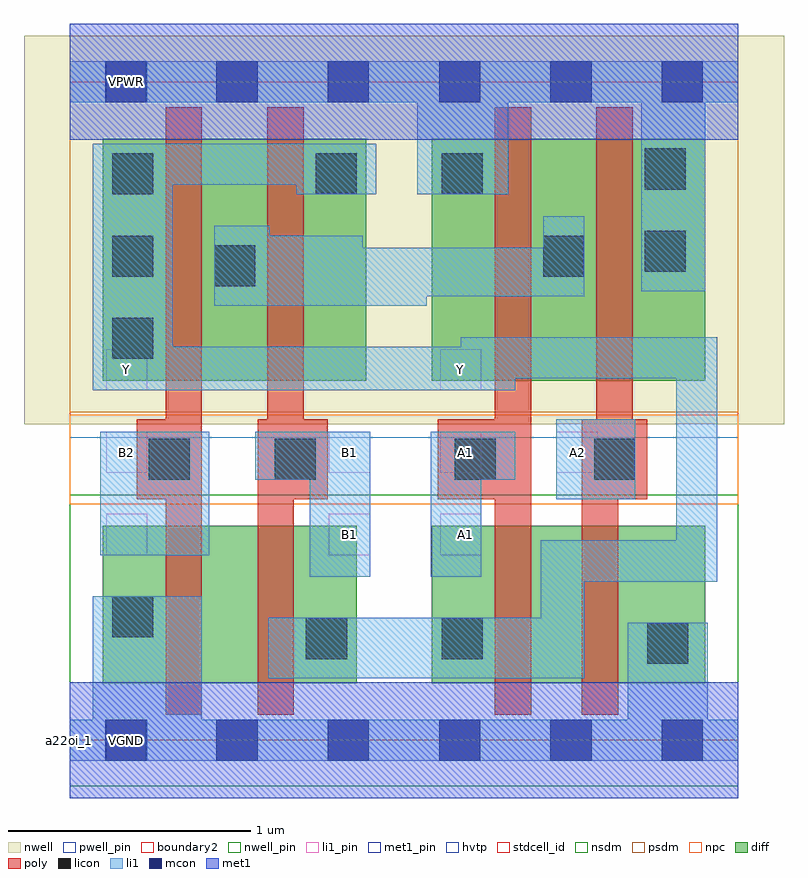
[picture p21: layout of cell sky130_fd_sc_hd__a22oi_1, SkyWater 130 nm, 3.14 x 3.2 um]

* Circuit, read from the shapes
.subckt sky130_fd_sc_hd__a22oi_1 A1 A2 B1 B2 VGND VNB VPB VPWR Y
XM1 n1 B2 VGND VNB sky130_fd_pr__nfet_01v8 w=0.65 l=0.15
XM2 Y B1 n1 VNB sky130_fd_pr__nfet_01v8 w=0.65 l=0.15
XM3 n2 A1 Y VNB sky130_fd_pr__nfet_01v8 w=0.65 l=0.15
XM4 VGND A2 n2 VNB sky130_fd_pr__nfet_01v8 w=0.65 l=0.15
XM5 n3 B2 Y VPB sky130_fd_pr__pfet_01v8_hvt w=1 l=0.15
XM6 Y B1 n3 VPB sky130_fd_pr__pfet_01v8_hvt w=1 l=0.15
XM7 n3 A1 VPWR VPB sky130_fd_pr__pfet_01v8_hvt w=1 l=0.15
XM8 VPWR A2 n3 VPB sky130_fd_pr__pfet_01v8_hvt w=1 l=0.15
.ends

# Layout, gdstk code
import gdstk
lib = gdstk.Library(unit=1e-6, precision=1e-09)
def R(c, l, rs):  # rectangles x0, y0, x1, y1
    for r in rs: c.add(gdstk.rectangle(r[:2], r[2:], *l))
def A(c, l, x, y, w, h, nx, ny, dx, dy):  # array of equal rectangles
    R(c, l, [(x+i*dx, y+j*dy, x+i*dx+w, y+j*dy+h) for i in range(nx) for j in range(ny)])
def P(c, l, *ps):  # polygons
    for p in ps: c.add(gdstk.Polygon(p, *l))
nwell_pin = (64, 16)
nwell = (64, 20)
diff = (65, 20)
poly = (66, 20)
licon = (66, 44)
li1_pin = (67, 16)
li1 = (67, 20)
mcon = (67, 44)
met1_pin = (68, 16)
met1 = (68, 20)
hvtp = (78, 44)
stdcell_id = (81, 4)
nsdm = (93, 44)
psdm = (94, 20)
npc = (95, 20)
pwell_pin = (122, 16)
boundary2 = (236, 0)

sky130_fd_sc_hd__a22oi_1 = lib.new_cell('sky130_fd_sc_hd__a22oi_1')
R(sky130_fd_sc_hd__a22oi_1, nwell_pin, [(0.15,2.635,0.32,2.805)])
R(sky130_fd_sc_hd__a22oi_1, nwell, [(-0.19,1.305,2.95,2.91)])
R(sky130_fd_sc_hd__a22oi_1, diff, [(0.135,0.235,1.185,0.885), (1.495,0.235,2.625,0.885), (0.135,1.485,1.225,2.485), (1.495,1.485,2.625,2.485)])
P(sky130_fd_sc_hd__a22oi_1, poly, [(0.545,2.615),(0.395,2.615),(0.395,1.325),(0.275,1.325),(0.275,0.995),(0.395,0.995),(0.395,0.105),(0.545,0.105)],
  [(1.065,1.325),(0.965,1.325),(0.965,2.615),(0.815,2.615),(0.815,1.325),(0.775,1.325),(0.775,0.105),(0.925,0.105),(0.925,0.995),(1.065,0.995)],
  [(1.905,2.615),(1.755,2.615),(1.755,1.325),(1.52,1.325),(1.52,0.995),(1.755,0.995),(1.755,0.105),(1.905,0.105)],
  [(2.385,1.325),(2.325,1.325),(2.325,2.615),(2.175,2.615),(2.175,1.325),(2.115,1.325),(2.115,0.105),(2.265,0.105),(2.265,0.995),(2.385,0.995)])
A(sky130_fd_sc_hd__a22oi_1, licon, 0.175, 1.575, 0.17, 0.17, 1, 3, 0, 0.34)
R(sky130_fd_sc_hd__a22oi_1, licon, [(2.385,0.315,2.555,0.485), (0.975,0.335,1.145,0.505), (1.535,0.335,1.705,0.505), (0.175,0.425,0.345,0.595), (0.325,1.075,0.495,1.245), (0.845,1.075,1.015,1.245), (1.59,1.075,1.76,1.245), (2.165,1.075,2.335,1.245), (0.595,1.875,0.765,2.045), (1.955,1.915,2.125,2.085), (2.375,1.935,2.545,2.105), (1.015,2.255,1.185,2.425), (1.535,2.255,1.705,2.425), (2.375,2.275,2.545,2.445)])
A(sky130_fd_sc_hd__a22oi_1, li1_pin, 0.15, 0.765, 0.17, 0.17, 1, 3, 0, 0.34)
A(sky130_fd_sc_hd__a22oi_1, li1_pin, 1.53, 0.765, 0.17, 0.17, 1, 3, 0, 0.34)
R(sky130_fd_sc_hd__a22oi_1, li1_pin, [(1.07,0.765,1.24,0.935), (1.07,1.105,1.24,1.275), (2.01,1.105,2.18,1.275)])
R(sky130_fd_sc_hd__a22oi_1, li1, [(0.125,0.765,0.575,1.275), (2.01,0.995,2.335,1.325)])
P(sky130_fd_sc_hd__a22oi_1, li1, [(1.84,1.275),(1.49,1.275),(1.49,0.675),(1.7,0.675),(1.7,1.075),(1.84,1.075)],
  [(1.24,1.275),(0.765,1.275),(0.765,1.075),(0.99,1.075),(0.99,0.675),(1.24,0.675)],
  [(2.675,1.665),(1.615,1.665),(1.615,1.625),(0.425,1.625),(0.425,2.295),(0.935,2.295),(0.935,2.255),(1.265,2.255),(1.265,2.465),(0.095,2.465),(0.095,1.445),(1.84,1.445),(1.84,1.495),(2.505,1.495),(2.505,0.825),(1.945,0.825),(1.945,0.505),(0.82,0.505),(0.82,0.255),(2.125,0.255),(2.125,0.655),(2.675,0.655)],
  [(2.125,2.165),(1.955,2.165),(1.955,2.035),(1.21,2.035),(1.21,2.085),(0.825,2.085),(0.825,2.125),(0.595,2.125),(0.595,1.795),(1.475,1.795),(1.475,1.835),(2.125,1.835)],
  [(2.76,2.805),(0,2.805),(0,2.635),(1.435,2.635),(1.435,2.255),(1.81,2.255),(1.81,2.635),(2.36,2.635),(2.36,1.855),(2.625,1.855),(2.625,2.635),(2.76,2.635)],
  [(2.76,0.085),(2.635,0.085),(2.635,0.485),(2.305,0.485),(2.305,0.085),(0.545,0.085),(0.545,0.595),(0.095,0.595),(0.095,0.085),(0,0.085),(0,-0.085),(2.76,-0.085)])
A(sky130_fd_sc_hd__a22oi_1, mcon, 0.145, -0.085, 0.17, 0.17, 6, 2, 0.46, 2.72)
R(sky130_fd_sc_hd__a22oi_1, met1_pin, [(0.15,-0.085,0.32,0.085), (0.15,2.635,0.32,2.805)])
R(sky130_fd_sc_hd__a22oi_1, hvtp, [(0,1.25,2.76,2.72)])
R(sky130_fd_sc_hd__a22oi_1, stdcell_id, [(0,0,2.76,2.72)])
R(sky130_fd_sc_hd__a22oi_1, nsdm, [(0,-0.19,2.76,1.015)])
R(sky130_fd_sc_hd__a22oi_1, psdm, [(0,1.355,2.76,2.91)])
R(sky130_fd_sc_hd__a22oi_1, npc, [(0,0.975,2.76,1.345)])
R(sky130_fd_sc_hd__a22oi_1, pwell_pin, [(0.15,-0.085,0.32,0.085)])
R(sky130_fd_sc_hd__a22oi_1, boundary2, [(0,0,2.76,2.72)])
sky130_fd_sc_hd__a22oi_1.add(gdstk.FlexPath([(0,2.72),(2.76,2.72)], 0.48, ends="flush", simple_path=True, layer=68, datatype=20))  # met1
sky130_fd_sc_hd__a22oi_1.add(gdstk.FlexPath([(0,0),(2.76,0)], 0.48, ends="flush", simple_path=True, layer=68, datatype=20))  # met1
sky130_fd_sc_hd__a22oi_1.add(gdstk.Label('B1', (1.155,0.85), layer=67, texttype=5))
sky130_fd_sc_hd__a22oi_1.add(gdstk.Label('A1', (1.635,0.85), layer=67, texttype=5))
sky130_fd_sc_hd__a22oi_1.add(gdstk.Label('B1', (1.155,1.19), layer=67, texttype=5))
sky130_fd_sc_hd__a22oi_1.add(gdstk.Label('B2', (0.235,1.19), layer=67, texttype=5))
sky130_fd_sc_hd__a22oi_1.add(gdstk.Label('A2', (2.095,1.19), layer=67, texttype=5))
sky130_fd_sc_hd__a22oi_1.add(gdstk.Label('A1', (1.635,1.19), layer=67, texttype=5))
sky130_fd_sc_hd__a22oi_1.add(gdstk.Label('Y', (1.615,1.53), layer=67, texttype=5))
sky130_fd_sc_hd__a22oi_1.add(gdstk.Label('Y', (0.235,1.53), layer=67, texttype=5))
sky130_fd_sc_hd__a22oi_1.add(gdstk.Label('VPWR', (0.235,2.72), layer=68, texttype=5))
sky130_fd_sc_hd__a22oi_1.add(gdstk.Label('VGND', (0.235,0), layer=68, texttype=5))
sky130_fd_sc_hd__a22oi_1.add(gdstk.Label('VPB', (0.235,2.72), layer=64, texttype=5))
sky130_fd_sc_hd__a22oi_1.add(gdstk.Label('VNB', (0.235,0), layer=64, texttype=59))
sky130_fd_sc_hd__a22oi_1.add(gdstk.Label('a22oi_1', (0,0), layer=83, texttype=44))

lib.write_gds('sky130_fd_sc_hd__a22oi_1.gds')
